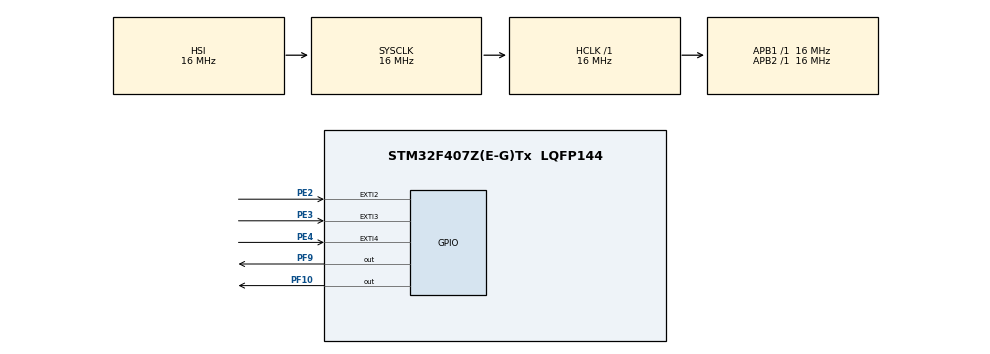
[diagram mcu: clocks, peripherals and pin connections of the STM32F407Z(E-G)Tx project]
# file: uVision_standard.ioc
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Mcu.Family=STM32F4
Mcu.Name=STM32F407Z(E-G)Tx
Mcu.Package=LQFP144
NVIC.PriorityGroup=NVIC_PRIORITYGROUP_4
PA13.Mode=Serial_Wire
PA13.Signal=SYS_JTMS-SWDIO
PA14.Mode=Serial_Wire
PA14.Signal=SYS_JTCK-SWCLK
PE2.GPIO_ModeDefaultEXTI=GPIO_MODE_IT_FALLING
PE2.GPIO_PuPd=GPIO_PULLUP
PE2.Signal=GPXTI2
PE3.GPIO_ModeDefaultEXTI=GPIO_MODE_IT_FALLING
PE3.GPIO_PuPd=GPIO_PULLUP
PE3.Signal=GPXTI3
PE4.GPIO_ModeDefaultEXTI=GPIO_MODE_IT_FALLING
PE4.GPIO_PuPd=GPIO_PULLUP
PE4.Signal=GPXTI4
PF10.PinState=GPIO_PIN_SET
PF10.Signal=GPIO_Output
PF9.PinState=GPIO_PIN_SET
PF9.Signal=GPIO_Output
ProjectManager.HeapSize=0x200
ProjectManager.StackSize=0x400
ProjectManager.TargetToolchain=MDK-ARM V5.27
RCC.AHBFreq_Value=16000000
RCC.APB1Freq_Value=16000000
RCC.APB2Freq_Value=16000000
RCC.CortexFreq_Value=16000000
RCC.HSE_VALUE=25000000
RCC.HSI_VALUE=16000000
RCC.LSE_VALUE=32768
RCC.SYSCLKFreq_VALUE=16000000
RCC.VCOOutputFreq_Value=192000000
board=custom

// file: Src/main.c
/* USER CODE BEGIN Header */
/**
  ******************************************************************************
  * @file           : main.c
  * @brief          : Main program body
  ******************************************************************************
  * @attention
  *
  * <h2><center>&copy; Copyright (c) 2020 STMicroelectronics.
  * All rights reserved.</center></h2>
  *
  * This software component is licensed by ST under BSD 3-Clause license,
  * the "License"; You may not use this file except in compliance with the
  * License. You may obtain a copy of the License at:
  *                        opensource.org/licenses/BSD-3-Clause
  *
  ******************************************************************************
  */
/* USER CODE END Header */

#include "main.h"

/* USER CODE BEGIN Includes */
#include "miros.h"
/* USER CODE END Includes */

/* USER CODE BEGIN PV */

extern uint32_t stack_blinky1[40];
extern uint32_t stack_blinky2[40];
extern OSThread blinky1;
extern OSThread blinky2;

/* USER CODE END PV */

void SystemClock_Config(void);
static void MX_GPIO_Init(void);
/* USER CODE BEGIN PFP */

void main_blinky1(void);
void main_blinky2(void);

/* USER CODE END PFP */

int main(void)
{

  /* MCU Configuration--------------------------------------------------------*/

  /* Reset of all peripherals, Initializes the Flash interface and the Systick. */
  HAL_Init();

  /* Configure the system clock */
  SystemClock_Config();

  /* Initialize all configured peripherals */
  MX_GPIO_Init();
  /* USER CODE BEGIN 2 */

	// OS_init(); // Not useful, CubeMX already generate the code for setting the pirority

	/* fabricate Cortex-M ISR stack frame for blinky1 */
	OSThread_start(&blinky1,
								 &main_blinky1,
								 stack_blinky1, sizeof(stack_blinky1));

	/* fabricate Cortex-M ISR stack frame for blinky2 */
	OSThread_start(&blinky2,
								 &main_blinky2,
								 stack_blinky2, sizeof(stack_blinky2));
  /* USER CODE END 2 */

  /* Infinite loop */
  while (1)
  {

  }
}

void SystemClock_Config(void)
{
  RCC_OscInitTypeDef RCC_OscInitStruct = {0};
  RCC_ClkInitTypeDef RCC_ClkInitStruct = {0};

  /** Configure the main internal regulator output voltage
  */
  __HAL_RCC_PWR_CLK_ENABLE();
  __HAL_PWR_VOLTAGESCALING_CONFIG(PWR_REGULATOR_VOLTAGE_SCALE1);
  /** Initializes the CPU, AHB and APB busses clocks
  */
  RCC_OscInitStruct.OscillatorType = RCC_OSCILLATORTYPE_HSI;
  RCC_OscInitStruct.HSIState = RCC_HSI_ON;
  RCC_OscInitStruct.HSICalibrationValue = RCC_HSICALIBRATION_DEFAULT;
  RCC_OscInitStruct.PLL.PLLState = RCC_PLL_NONE;
  if (HAL_RCC_OscConfig(&RCC_OscInitStruct) != HAL_OK)
  {
    Error_Handler();
  }
  /** Initializes the CPU, AHB and APB busses clocks
  */
  RCC_ClkInitStruct.ClockType = RCC_CLOCKTYPE_HCLK|RCC_CLOCKTYPE_SYSCLK
                              |RCC_CLOCKTYPE_PCLK1|RCC_CLOCKTYPE_PCLK2;
  RCC_ClkInitStruct.SYSCLKSource = RCC_SYSCLKSOURCE_HSI;
  RCC_ClkInitStruct.AHBCLKDivider = RCC_SYSCLK_DIV1;
  RCC_ClkInitStruct.APB1CLKDivider = RCC_HCLK_DIV1;
  RCC_ClkInitStruct.APB2CLKDivider = RCC_HCLK_DIV1;

  if (HAL_RCC_ClockConfig(&RCC_ClkInitStruct, FLASH_LATENCY_0) != HAL_OK)
  {
    Error_Handler();
  }
}

static void MX_GPIO_Init(void)
{
  GPIO_InitTypeDef GPIO_InitStruct = {0};

  /* GPIO Ports Clock Enable */
  __HAL_RCC_GPIOE_CLK_ENABLE();
  __HAL_RCC_GPIOF_CLK_ENABLE();
  __HAL_RCC_GPIOA_CLK_ENABLE();

  /*Configure GPIO pin Output Level */
  HAL_GPIO_WritePin(GPIOF, GPIO_PIN_9|GPIO_PIN_10, GPIO_PIN_SET);

  /*Configure GPIO pins : PE2 PE3 PE4 */
  GPIO_InitStruct.Pin = GPIO_PIN_2|GPIO_PIN_3|GPIO_PIN_4;
  GPIO_InitStruct.Mode = GPIO_MODE_IT_FALLING;
  GPIO_InitStruct.Pull = GPIO_PULLUP;
  HAL_GPIO_Init(GPIOE, &GPIO_InitStruct);

  /*Configure GPIO pins : PF9 PF10 */
  GPIO_InitStruct.Pin = GPIO_PIN_9|GPIO_PIN_10;
  GPIO_InitStruct.Mode = GPIO_MODE_OUTPUT_PP;
  GPIO_InitStruct.Pull = GPIO_NOPULL;
  GPIO_InitStruct.Speed = GPIO_SPEED_FREQ_LOW;
  HAL_GPIO_Init(GPIOF, &GPIO_InitStruct);

}

/* USER CODE BEGIN 4 */
uint32_t stack_blinky1[40];  // Stack frame for blinky1
OSThread blinky1;  // Stack pointer for blinky1
void main_blinky1()
{
	while(1)
		{
		HAL_GPIO_WritePin(GPIOF, GPIO_PIN_9, GPIO_PIN_RESET);
		HAL_Delay(1000);
		HAL_GPIO_WritePin(GPIOF, GPIO_PIN_9, GPIO_PIN_SET);
		HAL_Delay(1000);
		}
}

uint32_t stack_blinky2[40];  // Stack frame for blinky2
OSThread blinky2;  // Stack pointer for blinky2
void main_blinky2()
{
	while(1)
	{
		HAL_GPIO_WritePin(GPIOF, GPIO_PIN_10, GPIO_PIN_RESET);
		HAL_Delay(500);
		HAL_GPIO_WritePin(GPIOF, GPIO_PIN_10, GPIO_PIN_SET);
		HAL_Delay(500);
	}
}
/* USER CODE END 4 */

void Error_Handler(void)
{
}

/************************ (C) COPYRIGHT STMicroelectronics *****END OF FILE****/
